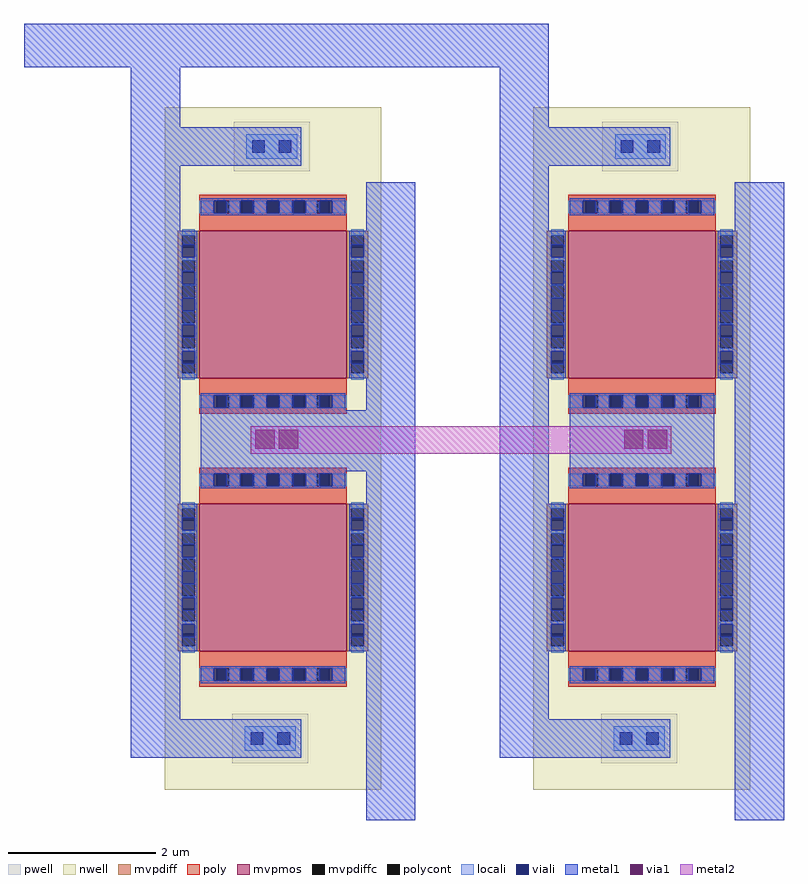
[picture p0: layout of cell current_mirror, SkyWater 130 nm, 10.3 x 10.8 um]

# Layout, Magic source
magic
tech sky130A
magscale 1 2
<< metal1 >>
rect -1298 1572 125 1691
rect -427 477 -371 643
<< metal2 >>
rect -684 525 456 600
use contact$4  contact$4_0
array 0 1 1000 0 0 0
transform 1 0 -613 0 1 564
box -64 -32 64 32
use m2_pfet_w2_l2  m2_pfet_w2_l2_0
array 0 1 1000 0 0 0
transform 1 0 -623 0 1 190
box -385 -659 385 1382
<< end >>

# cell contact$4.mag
magic
tech sky130A
<< metal1 >>
rect -32 13 32 16
rect -32 -13 -29 13
rect -3 -13 3 13
rect 29 -13 32 13
rect -32 -16 32 -13
<< via1 >>
rect -29 -13 -3 13
rect 3 -13 29 13
<< metal2 >>
rect -32 13 32 16
rect -32 -13 -29 13
rect -3 -13 3 13
rect 29 -13 32 13
rect -32 -16 32 -13
<< end >>

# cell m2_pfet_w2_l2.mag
magic
tech sky130A
magscale 1 2
<< metal1 >>
rect -385 1220 -252 1382
rect -385 1116 76 1220
rect -385 -385 -252 1116
rect -196 287 196 453
rect -385 -489 76 -385
rect 252 -659 385 1071
use sky130_fd_pr__pfet_g5v0d10v5_QSRSHK  sky130_fd_pr__pfet_g5v0d10v5_QSRSHK_0
array 0 0 0 0 1 740
transform 1 0 0 0 1 0
box -324 -576 324 534
use contact$3  contact$3_0
transform 1 0 -4 0 1 1168
box -69 -33 69 33
use contact$2  contact$2_0
transform 1 0 -4 0 1 1168
box -103 -67 103 67
use contact$3  contact$3_1
transform 1 0 -7 0 1 -437
box -69 -33 69 33
use contact$2  contact$2_1
transform 1 0 -7 0 1 -437
box -103 -67 103 67
<< end >>

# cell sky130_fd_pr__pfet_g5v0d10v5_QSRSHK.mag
magic
tech sky130A
magscale 1 2
<< nwell >>
rect -294 -576 294 534
<< mvpmos >>
rect -200 -200 200 200
<< mvpdiff >>
rect -258 187 -200 200
rect -258 153 -246 187
rect -212 153 -200 187
rect -258 119 -200 153
rect -258 85 -246 119
rect -212 85 -200 119
rect -258 51 -200 85
rect -258 17 -246 51
rect -212 17 -200 51
rect -258 -17 -200 17
rect -258 -51 -246 -17
rect -212 -51 -200 -17
rect -258 -85 -200 -51
rect -258 -119 -246 -85
rect -212 -119 -200 -85
rect -258 -153 -200 -119
rect -258 -187 -246 -153
rect -212 -187 -200 -153
rect -258 -200 -200 -187
rect 200 187 258 200
rect 200 153 212 187
rect 246 153 258 187
rect 200 119 258 153
rect 200 85 212 119
rect 246 85 258 119
rect 200 51 258 85
rect 200 17 212 51
rect 246 17 258 51
rect 200 -17 258 17
rect 200 -51 212 -17
rect 246 -51 258 -17
rect 200 -85 258 -51
rect 200 -119 212 -85
rect 246 -119 258 -85
rect 200 -153 258 -119
rect 200 -187 212 -153
rect 246 -187 258 -153
rect 200 -200 258 -187
<< mvpdiffc >>
rect -246 153 -212 187
rect -246 85 -212 119
rect -246 17 -212 51
rect -246 -51 -212 -17
rect -246 -119 -212 -85
rect -246 -187 -212 -153
rect 212 153 246 187
rect 212 85 246 119
rect 212 17 246 51
rect 212 -51 246 -17
rect 212 -119 246 -85
rect 212 -187 246 -153
<< poly >>
rect -200 281 200 297
rect -200 247 -153 281
rect -119 247 -85 281
rect -51 247 -17 281
rect 17 247 51 281
rect 85 247 119 281
rect 153 247 200 281
rect -200 200 200 247
rect -200 -247 200 -200
rect -200 -281 -153 -247
rect -119 -281 -85 -247
rect -51 -281 -17 -247
rect 17 -281 51 -247
rect 85 -281 119 -247
rect 153 -281 200 -247
rect -200 -297 200 -281
<< polycont >>
rect -153 247 -119 281
rect -85 247 -51 281
rect -17 247 17 281
rect 51 247 85 281
rect 119 247 153 281
rect -153 -281 -119 -247
rect -85 -281 -51 -247
rect -17 -281 17 -247
rect 51 -281 85 -247
rect 119 -281 153 -247
<< locali >>
rect -200 247 -161 281
rect -119 247 -89 281
rect -51 247 -17 281
rect 17 247 51 281
rect 89 247 119 281
rect 161 247 200 281
rect -246 187 -212 204
rect -246 119 -212 127
rect -246 51 -212 55
rect -246 -55 -212 -51
rect -246 -127 -212 -119
rect -246 -204 -212 -187
rect 212 187 246 204
rect 212 119 246 127
rect 212 51 246 55
rect 212 -55 246 -51
rect 212 -127 246 -119
rect 212 -204 246 -187
rect -200 -281 -161 -247
rect -119 -281 -89 -247
rect -51 -281 -17 -247
rect 17 -281 51 -247
rect 89 -281 119 -247
rect 161 -281 200 -247
<< viali >>
rect -161 247 -153 281
rect -153 247 -127 281
rect -89 247 -85 281
rect -85 247 -55 281
rect -17 247 17 281
rect 55 247 85 281
rect 85 247 89 281
rect 127 247 153 281
rect 153 247 161 281
rect -246 153 -212 161
rect -246 127 -212 153
rect -246 85 -212 89
rect -246 55 -212 85
rect -246 -17 -212 17
rect -246 -85 -212 -55
rect -246 -89 -212 -85
rect -246 -153 -212 -127
rect -246 -161 -212 -153
rect 212 153 246 161
rect 212 127 246 153
rect 212 85 246 89
rect 212 55 246 85
rect 212 -17 246 17
rect 212 -85 246 -55
rect 212 -89 246 -85
rect 212 -153 246 -127
rect 212 -161 246 -153
rect -161 -281 -153 -247
rect -153 -281 -127 -247
rect -89 -281 -85 -247
rect -85 -281 -55 -247
rect -17 -281 17 -247
rect 55 -281 85 -247
rect 85 -281 89 -247
rect 127 -281 153 -247
rect 153 -281 161 -247
<< metal1 >>
rect -196 281 196 287
rect -196 247 -161 281
rect -127 247 -89 281
rect -55 247 -17 281
rect 17 247 55 281
rect 89 247 127 281
rect 161 247 196 281
rect -196 241 196 247
rect -252 161 -206 200
rect -252 127 -246 161
rect -212 127 -206 161
rect -252 89 -206 127
rect -252 55 -246 89
rect -212 55 -206 89
rect -252 17 -206 55
rect -252 -17 -246 17
rect -212 -17 -206 17
rect -252 -55 -206 -17
rect -252 -89 -246 -55
rect -212 -89 -206 -55
rect -252 -127 -206 -89
rect -252 -161 -246 -127
rect -212 -161 -206 -127
rect -252 -200 -206 -161
rect 206 161 252 200
rect 206 127 212 161
rect 246 127 252 161
rect 206 89 252 127
rect 206 55 212 89
rect 246 55 252 89
rect 206 17 252 55
rect 206 -17 212 17
rect 246 -17 252 17
rect 206 -55 252 -17
rect 206 -89 212 -55
rect 246 -89 252 -55
rect 206 -127 252 -89
rect 206 -161 212 -127
rect 246 -161 252 -127
rect 206 -200 252 -161
rect -196 -247 196 -241
rect -196 -281 -161 -247
rect -127 -281 -89 -247
rect -55 -281 -17 -247
rect 17 -281 55 -247
rect 89 -281 127 -247
rect 161 -281 196 -247
rect -196 -287 196 -281
<< end >>

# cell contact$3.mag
magic
tech sky130A
magscale 1 2
<< locali >>
rect -69 17 69 33
rect -69 -17 -53 17
rect -19 -17 19 17
rect 53 -17 69 17
rect -69 -33 69 -17
<< viali >>
rect -53 -17 -19 17
rect 19 -17 53 17
<< metal1 >>
rect -65 17 65 29
rect -65 -17 -53 17
rect -19 -17 19 17
rect 53 -17 65 17
rect -65 -29 65 -17
<< end >>

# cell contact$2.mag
magic
tech sky130A
magscale 1 2
<< pwell >>
rect -103 -67 103 67
<< locali >>
rect -69 -33 69 33
<< end >>
